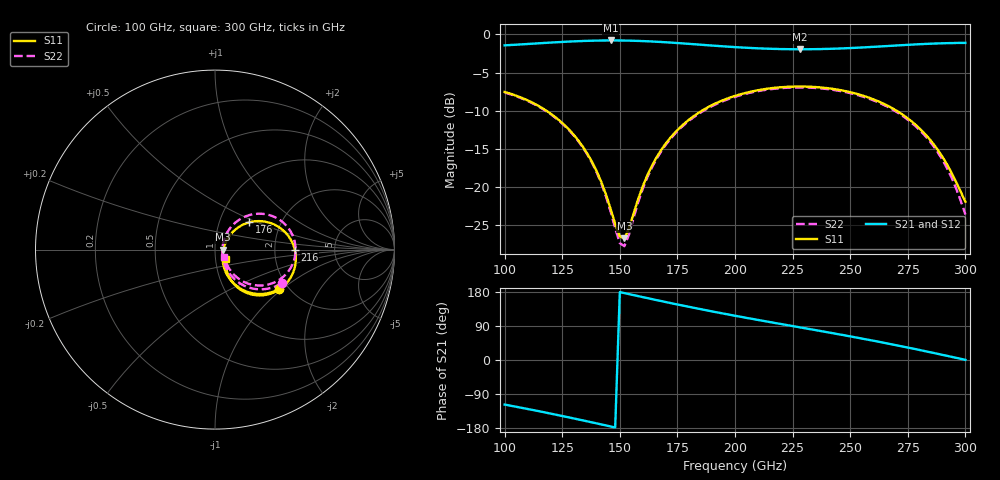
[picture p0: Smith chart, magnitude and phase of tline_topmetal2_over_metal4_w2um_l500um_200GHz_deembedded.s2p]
! Created with skrf 2.0.1 (http://scikit-rf.org).
# GHz S DB R 50.0
!freq dBS11 angS11 dBS21 angS21 dBS12 angS12 dBS22 angS22
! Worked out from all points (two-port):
!   101 points, 100 GHz to 300 GHz, reference 50 ohm
!   highest |S21| = -0.80 dB at 146 GHz (marker M1); lowest = -2.0 dB at 228 GHz (marker M2)
!   |S21| within 3 dB of the highest: start of sweep to end of sweep
!   lowest |S11| = -26.7 dB at 152 GHz (marker M3), VSWR 1.10, Z = 54.8 - j0.133 ohm
!   |S11| at or under -10 dB: 118.2 GHz to 185.7 GHz (67.51 GHz wide, 44.4 % of centre); 270.1 GHz to end of sweep
!   |S22| runs from -27.7 to -7.0 dB; largest |S21 - S12| = 9.2e-14
!   S11 on the Smith chart (normalised r, x): 100 GHz: 1.79, -0.95; 176 GHz: 1.39, +0.45; 216 GHz: 2.60, -0.00; 300 GHz: 1.12, -0.12
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100  -7.55 -31.5  -1.44 -117.6  -1.44 -117.6  -7.62 -26.6
120  -10.38 -51.8  -1.08 -141.5  -1.08 -141.5  -10.46 -46.2
134  -14.73 -63.3  -0.87 -159.4  -0.87 -159.4  -14.83 -57.6
140  -17.95 -64.3  -0.82 -167.4  -0.82 -167.4  -18.10 -58.9
146  -22.85 -53.9  -0.80 -175.4  -0.80 -175.4  -23.20 -49.5
150  -26.46 -24.9  -0.81 179.3  -0.81 179.3  -27.34 -19.8
152  -26.72 -1.5  -0.81 176.6  -0.81 176.6  -27.74 6.5
154  -25.40 18.7  -0.83 173.9  -0.83 173.9  -26.21 28.9
160  -19.87 42.3  -0.88 165.9  -0.88 165.9  -20.20 52.9
168  -15.13 43.9  -1.00 155.4  -1.00 155.4  -15.31 54.0
176  -12.24 38.4  -1.16 145.3  -1.16 145.3  -12.38 48.5
186  -9.94 29.3  -1.38 133.0  -1.38 133.0  -10.07 39.6
200  -8.06 15.6  -1.67 116.8  -1.67 116.8  -8.18 26.2
216  -7.04 -0.1  -1.90 99.2  -1.90 99.2  -7.16 11.1
228  -6.83 -11.6  -1.95 86.3  -1.95 86.3  -6.95 -0.2
234  -6.88 -17.4  -1.94 79.9  -1.94 79.9  -7.01 -5.8
252  -7.72 -34.7  -1.77 60.1  -1.77 60.1  -7.85 -22.8
268  -9.63 -49.7  -1.50 41.4  -1.50 41.4  -9.78 -38.1
280  -12.29 -59.4  -1.29 26.6  -1.29 26.6  -12.49 -48.5
288  -15.11 -62.6  -1.19 16.2  -1.19 16.2  -15.44 -53.1
294  -18.13 -59.6  -1.14 8.4  -1.14 8.4  -18.76 -52.2
300  -21.91 -42.9  -1.12 0.4  -1.12 0.4  -23.59 -37.1
